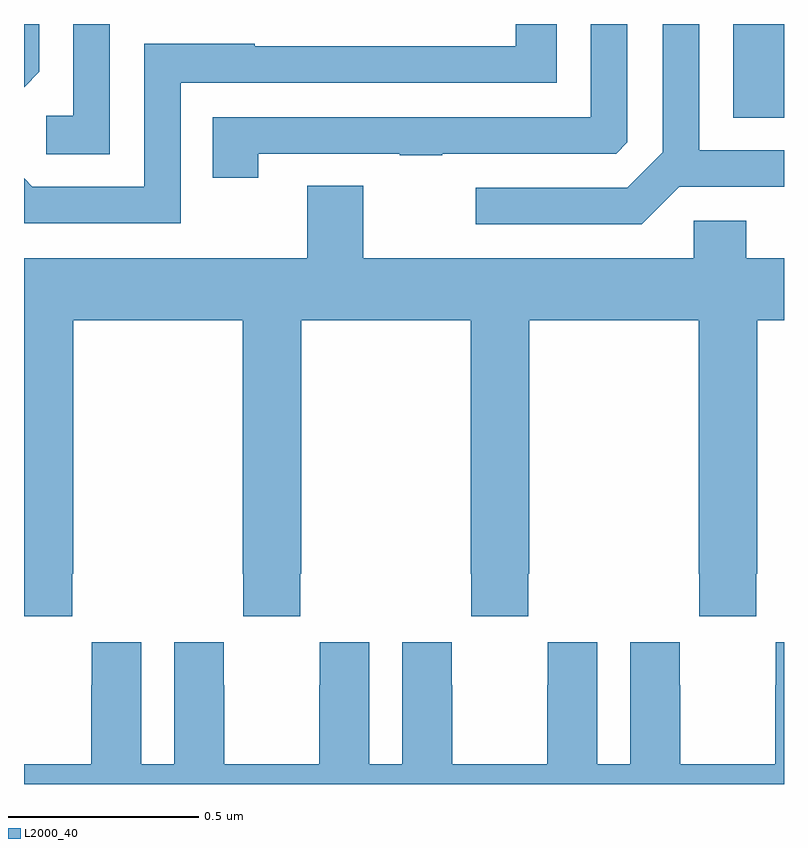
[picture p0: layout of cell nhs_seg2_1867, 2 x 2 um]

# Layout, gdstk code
import gdstk
lib = gdstk.Library(unit=1e-6, precision=1e-09)
def R(c, l, rs):  # rectangles x0, y0, x1, y1
    for r in rs: c.add(gdstk.rectangle(r[:2], r[2:], *l))
def P(c, l, *ps):  # polygons
    for p in ps: c.add(gdstk.Polygon(p, *l))
L2000_40 = (2000, 40)

nhs_seg2_1867 = lib.new_cell('nhs_seg2_1867')
R(nhs_seg2_1867, L2000_40, [(135.866,597.553,136,597.8)])
P(nhs_seg2_1867, L2000_40, [(134.412,597.645),(135.402,597.645),(135.402,597.8),(135.294,597.8),(135.294,597.742),(135.039,597.742),(135.039,597.741),(134.607,597.741),(134.607,597.748),(134.316,597.748),(134.316,597.372),(134.022,597.372),(134,597.394),(134,597.276),(134.412,597.276)],
  [(134.616,597.459),(134.989,597.459),(134.989,597.454),(135.101,597.454),(135.101,597.459),(135.558,597.459),(135.588,597.489),(135.588,597.8),(135.492,597.8),(135.492,597.555),(134.497,597.555),(134.497,597.396),(134.616,597.396)],
  [(134.04,597.674),(134.04,597.8),(134,597.8),(134,597.634)],
  [(134.226,597.8),(134.13,597.8),(134.13,597.558),(134.058,597.558),(134.058,597.457),(134.226,597.457)],
  [(135.724,597.372),(136,597.372),(136,597.468),(135.777,597.468),(135.777,597.8),(135.681,597.8),(135.681,597.462),(135.588,597.369),(135.189,597.369),(135.189,597.273),(135.625,597.273)],
  [(134.127,596.353),(134.13,596.353),(134.13,597.02),(134.575,597.02),(134.575,596.353),(134.577,596.353),(134.577,596.241),(134.727,596.241),(134.727,596.353),(134.73,596.353),(134.73,597.02),(135.175,597.02),(135.175,596.353),(135.177,596.353),(135.177,596.241),(135.327,596.241),(135.327,596.353),(135.33,596.353),(135.33,597.02),(135.775,597.02),(135.775,596.353),(135.777,596.353),(135.777,596.241),(135.927,596.241),(135.927,596.353),(135.93,596.353),(135.93,597.02),(136,597.02),(136,597.184),(135.901,597.184),(135.901,597.282),(135.762,597.282),(135.762,597.184),(134.893,597.184),(134.893,597.374),(134.746,597.374),(134.746,597.184),(134,597.184),(134,596.241),(134.127,596.241)],
  [(134.526,596.06),(134.526,596.173),(134.396,596.173),(134.396,595.852),(134.308,595.852),(134.308,596.173),(134.178,596.173),(134.178,596.06),(134.177,596.06),(134.177,595.852),(134,595.852),(134,595.8),(136,595.8),(136,596.173),(135.978,596.173),(135.978,596.06),(135.977,596.06),(135.977,595.852),(135.727,595.852),(135.727,596.06),(135.726,596.06),(135.726,596.173),(135.596,596.173),(135.596,595.852),(135.508,595.852),(135.508,596.173),(135.378,596.173),(135.378,596.06),(135.377,596.06),(135.377,595.852),(135.127,595.852),(135.127,596.06),(135.126,596.06),(135.126,596.173),(134.996,596.173),(134.996,595.852),(134.908,595.852),(134.908,596.173),(134.778,596.173),(134.778,596.06),(134.777,596.06),(134.777,595.852),(134.527,595.852),(134.527,596.06)])

lib.write_gds('nhs_seg2_1867.gds')
